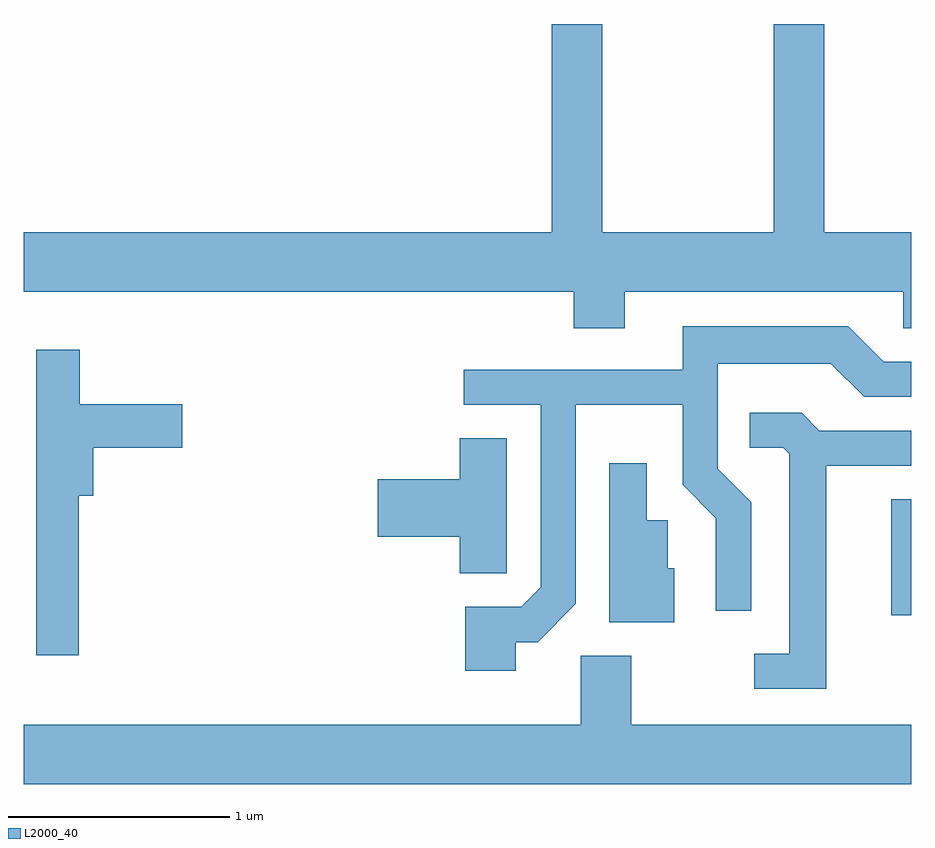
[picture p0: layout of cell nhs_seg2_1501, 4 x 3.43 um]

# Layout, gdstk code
import gdstk
lib = gdstk.Library(unit=1e-6, precision=1e-09)
def R(c, l, rs):  # rectangles x0, y0, x1, y1
    for r in rs: c.add(gdstk.rectangle(r[:2], r[2:], *l))
def P(c, l, *ps):  # polygons
    for p in ps: c.add(gdstk.Polygon(p, *l))
L2000_40 = (2000, 40)

nhs_seg2_1501 = lib.new_cell('nhs_seg2_1501')
R(nhs_seg2_1501, L2000_40, [(233.521,989.136,233.611,989.659)])
P(nhs_seg2_1501, L2000_40, [(232.219,991.802),(231.991,991.802),(231.991,990.864),(229.611,990.864),(229.611,990.596),(232.091,990.596),(232.091,990.431),(232.319,990.431),(232.319,990.596),(233.576,990.596),(233.576,990.431),(233.611,990.431),(233.611,990.864),(233.219,990.864),(233.219,991.802),(232.991,991.802),(232.991,990.864),(232.219,990.864)],
  [(231.829,989.016),(231.927,989.016),(232.099,989.189),(232.099,990.086),(232.581,990.086),(232.581,989.724),(232.731,989.574),(232.731,989.158),(232.889,989.158),(232.889,989.647),(232.739,989.797),(232.739,990.271),(233.249,990.271),(233.399,990.121),(233.611,990.121),(233.611,990.279),(233.487,990.279),(233.327,990.439),(232.581,990.439),(232.581,990.244),(231.593,990.244),(231.593,990.086),(231.941,990.086),(231.941,989.262),(231.854,989.174),(231.601,989.174),(231.601,988.886),(231.829,988.886)],
  [(229.859,989.676),(229.924,989.676),(229.924,989.891),(230.324,989.891),(230.324,990.089),(229.864,990.089),(229.864,990.334),(229.666,990.334),(229.666,988.956),(229.859,988.956)],
  [(233.229,989.811),(233.611,989.811),(233.611,989.969),(233.197,989.969),(233.117,990.049),(232.883,990.049),(232.883,989.891),(233.034,989.891),(233.061,989.864),(233.061,988.964),(232.903,988.964),(232.903,988.806),(233.229,988.806)],
  [(231.789,989.934),(231.576,989.934),(231.576,989.749),(231.206,989.749),(231.206,989.491),(231.576,989.491),(231.576,989.326),(231.789,989.326)],
  [(232.544,989.349),(232.514,989.349),(232.514,989.564),(232.419,989.564),(232.419,989.823),(232.251,989.823),(232.251,989.106),(232.544,989.106)],
  [(233.611,988.644),(232.349,988.644),(232.349,988.954),(232.121,988.954),(232.121,988.644),(229.611,988.644),(229.611,988.376),(233.611,988.376)])

lib.write_gds('nhs_seg2_1501.gds')
